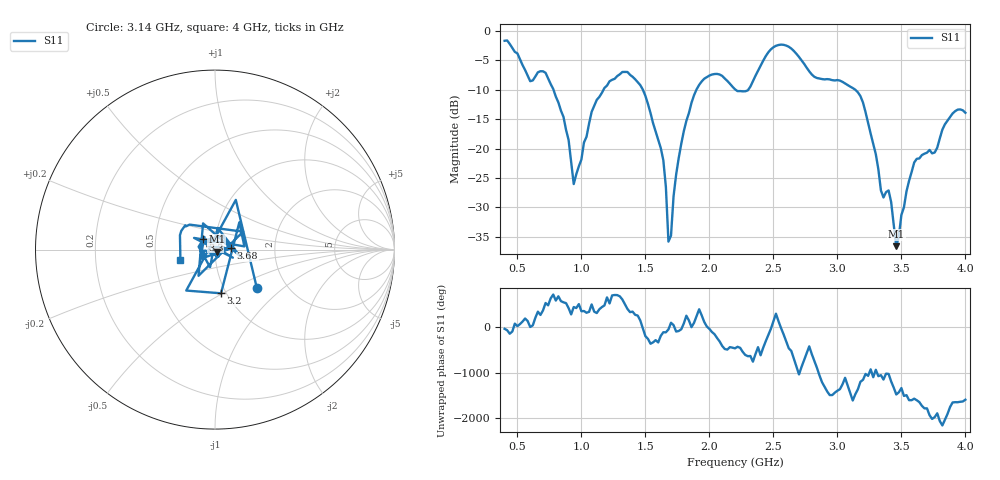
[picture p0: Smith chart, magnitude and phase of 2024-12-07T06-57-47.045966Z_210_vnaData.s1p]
!Created with skrf (http://scikit-rf.org).
# Hz S RI R 50.0
!freq ReS11 ImS11
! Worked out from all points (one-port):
!   181 points, 400 MHz to 4 GHz, reference 50 ohm
!   lowest |S11| = -36.6 dB at 3.46 GHz (marker M1), VSWR 1.03, Z = 51 - j1.1 ohm
!   |S11| at or under -10 dB: 781.7 MHz to 1.173 GHz (391.3 MHz wide, 40 % of centre); 1.48 GHz to 1.899 GHz (418.9 MHz wide, 24.8 % of centre); 3.139 GHz to end of sweep (the widest 3 of 4)
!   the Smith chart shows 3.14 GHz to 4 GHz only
!   S11 on the Smith chart (normalised r, x): 3.14 GHz: 1.42, -0.67; 3.2 GHz: 0.95, -0.49; 3.3 GHz: 0.86, +0.10; 3.68 GHz: 1.20, +0.02; 4 GHz: 0.67, -0.08
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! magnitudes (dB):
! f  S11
! 400 MHz  -1.7
! 600 MHz  -8.6
! 720 MHz  -7.1
! 860 MHz  -14.6
! 940 MHz  -26.0
! 1.08 GHz  -13.8
! 1.3 GHz  -7.4
! 1.48 GHz  -10.0
! 1.62 GHz  -19.9
! 1.66 GHz  -26.5
! 1.68 GHz  -35.8
! 1.7 GHz  -34.8
! 1.76 GHz  -21.6
! 1.94 GHz  -8.6
! 2.2 GHz  -9.9
! 2.3 GHz  -10.1
! 2.5 GHz  -2.8
! 2.66 GHz  -3.4
! 3.1 GHz  -9.5
! 3.14 GHz  -10.0
! 3.2 GHz  -12.2
! 3.3 GHz  -20.9
! 3.34 GHz  -27.1
! 3.4 GHz  -27.1
! 3.46 GHz  -36.6
! 3.56 GHz  -25.5
! 3.68 GHz  -20.9
! 4 GHz  -13.9
